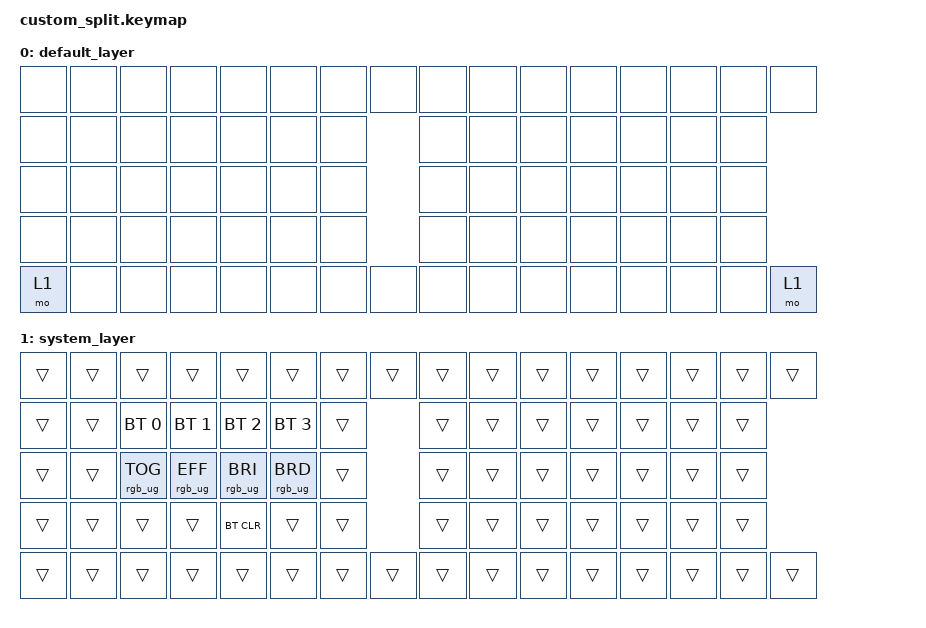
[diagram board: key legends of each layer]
#include <behaviors.dtsi>
#include <dt-bindings/zmk/keys.h>
#include <dt-bindings/zmk/bt.h>
#include <dt-bindings/zmk/rgb.h>

/ {
    keymap {
        compatible = "zmk,keymap";

        // Layer 0: Placeholder — fill in with your 37-key-per-half layout.
        // Rows 0 and 4 have 8 keys per half; rows 1-3 have 7 (innermost column unused).
        default_layer {
            bindings = <
    &none &none &none &none &none &none &none &none      &none &none &none &none &none &none &none &none
    &none &none &none &none &none &none &none            &none &none &none &none &none &none &none
    &none &none &none &none &none &none &none            &none &none &none &none &none &none &none
    &none &none &none &none &none &none &none            &none &none &none &none &none &none &none
    &mo 1 &none &none &none &none &none &none &none      &none &none &none &none &none &none &none &mo 1
            >;
        };

        // Layer 1: Hardware Management & Wireless Selection
        system_layer {
            bindings = <
    &trans &trans &trans      &trans      &trans      &trans      &trans &trans      &trans &trans &trans &trans &trans &trans &trans &trans
    &trans &trans &bt BT_SEL 0 &bt BT_SEL 1 &bt BT_SEL 2 &bt BT_SEL 3 &trans            &trans &trans &trans &trans &trans &trans &trans
    &trans &trans &rgb_ug RGB_TOG &rgb_ug RGB_EFF &rgb_ug RGB_BRI &rgb_ug RGB_BRD &trans            &trans &trans &trans &trans &trans &trans &trans
    &trans &trans &trans      &trans      &bt BT_CLR  &trans      &trans            &trans &trans &trans &trans &trans &trans &trans
    &trans &trans &trans      &trans      &trans      &trans      &trans &trans      &trans &trans &trans &trans &trans &trans &trans &trans
            >;
        };
    };
};

